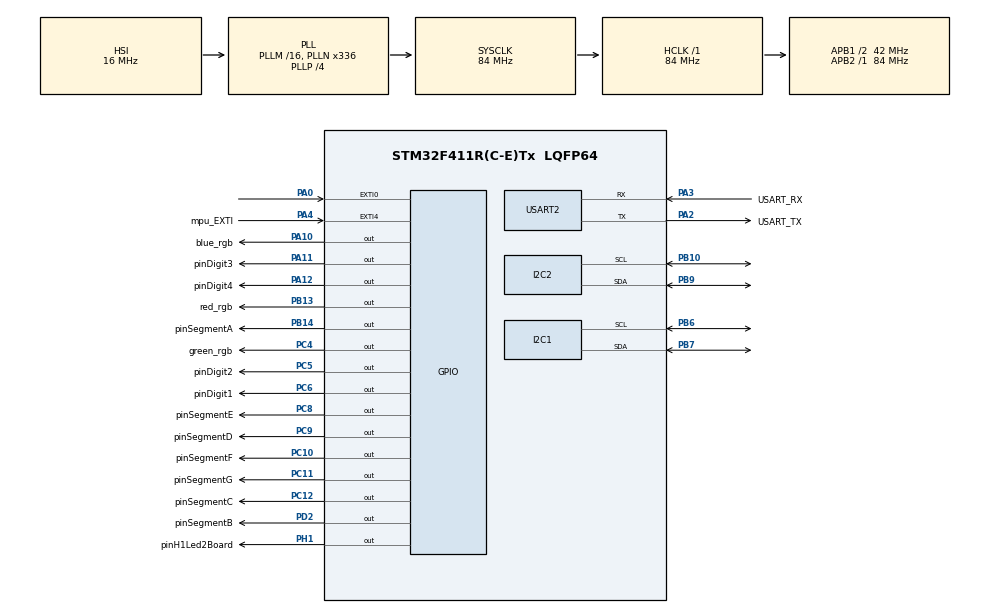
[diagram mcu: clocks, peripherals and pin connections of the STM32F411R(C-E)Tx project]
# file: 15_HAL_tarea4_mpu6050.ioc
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Dma.Request0=USART2_RX
Dma.USART2_RX.0.Direction=DMA_PERIPH_TO_MEMORY
Dma.USART2_RX.0.FIFOMode=DMA_FIFOMODE_DISABLE
Dma.USART2_RX.0.Instance=DMA1_Stream5
Dma.USART2_RX.0.MemDataAlignment=DMA_MDATAALIGN_BYTE
Dma.USART2_RX.0.MemInc=DMA_MINC_ENABLE
Dma.USART2_RX.0.Mode=DMA_NORMAL
Dma.USART2_RX.0.PeriphDataAlignment=DMA_PDATAALIGN_BYTE
Dma.USART2_RX.0.PeriphInc=DMA_PINC_DISABLE
Dma.USART2_RX.0.Priority=DMA_PRIORITY_LOW
Mcu.Family=STM32F4
Mcu.Name=STM32F411R(C-E)Tx
Mcu.Package=LQFP64
NVIC.DMA1_Stream5_IRQn=true\:0\:0\:false\:false\:true\:false\:true\:true
NVIC.EXTI4_IRQn=true\:0\:0\:false\:false\:true\:true\:true\:true
NVIC.PriorityGroup=NVIC_PRIORITYGROUP_0
NVIC.TIM2_IRQn=true\:0\:0\:false\:false\:true\:true\:true\:true
NVIC.TIM3_IRQn=true\:0\:0\:false\:false\:true\:true\:true\:true
NVIC.TIM4_IRQn=true\:0\:0\:false\:false\:true\:true\:true\:true
NVIC.USART2_IRQn=true\:0\:0\:false\:false\:true\:true\:true\:true
PA0-WKUP.Signal=GPXTI0
PA10.GPIO_Label=blue_rgb
PA10.Signal=GPIO_Output
PA11.GPIO_Label=pinDigit3
PA11.PinState=GPIO_PIN_SET
PA11.Signal=GPIO_Output
PA12.GPIO_Label=pinDigit4
PA12.PinState=GPIO_PIN_SET
PA12.Signal=GPIO_Output
PA13.GPIO_Label=TMS
PA13.Mode=Serial_Wire
PA13.Signal=SYS_JTMS-SWDIO
PA14.GPIO_Label=TCK
PA14.Mode=Serial_Wire
PA14.Signal=SYS_JTCK-SWCLK
PA2.GPIO_Label=USART_TX
PA2.Mode=Asynchronous
PA2.Signal=USART2_TX
PA3.GPIO_Label=USART_RX
PA3.Mode=Asynchronous
PA3.Signal=USART2_RX
PA4.GPIO_Label=mpu_EXTI
PA4.GPIO_ModeDefaultEXTI=GPIO_MODE_IT_RISING
PA4.GPIO_PuPd=GPIO_PULLDOWN
PA4.Signal=GPXTI4
PB10.Mode=I2C
PB10.Signal=I2C2_SCL
PB13.GPIO_Label=red_rgb
PB13.Signal=GPIO_Output
PB14.GPIO_Label=pinSegmentA
PB14.Signal=GPIO_Output
PB6.Mode=I2C
PB6.Signal=I2C1_SCL
PB7.Mode=I2C
PB7.Signal=I2C1_SDA
PB9.Mode=I2C
PB9.Signal=I2C2_SDA
PC10.GPIO_Label=pinSegmentF
PC10.Signal=GPIO_Output
PC11.GPIO_Label=pinSegmentG
PC11.Signal=GPIO_Output
PC12.GPIO_Label=pinSegmentC
PC12.Signal=GPIO_Output
PC14-OSC32_IN.Signal=RCC_OSC32_IN
PC15-OSC32_OUT.Signal=RCC_OSC32_OUT
PC4.GPIO_Label=green_rgb
PC4.Signal=GPIO_Output
PC5.GPIO_Label=pinDigit2
PC5.PinState=GPIO_PIN_SET
PC5.Signal=GPIO_Output
PC6.GPIO_Label=pinDigit1
PC6.PinState=GPIO_PIN_SET
PC6.Signal=GPIO_Output
PC8.GPIO_Label=pinSegmentE
PC8.Signal=GPIO_Output
PC9.GPIO_Label=pinSegmentD
PC9.Signal=GPIO_Output
PD2.GPIO_Label=pinSegmentB
PD2.Signal=GPIO_Output
PH0\ -\ OSC_IN.Signal=RCC_OSC_IN
PH1\ -\ OSC_OUT.GPIO_Label=pinH1Led2Board
PH1\ -\ OSC_OUT.Signal=GPIO_Output
ProjectManager.HeapSize=0x200
ProjectManager.StackSize=0x400
ProjectManager.TargetToolchain=STM32CubeIDE
RCC.48MHZClocksFreq_Value=84000000
RCC.AHBFreq_Value=84000000
RCC.APB1CLKDivider=RCC_HCLK_DIV2
RCC.APB1Freq_Value=42000000
RCC.APB1TimFreq_Value=84000000
RCC.APB2Freq_Value=84000000
RCC.APB2TimFreq_Value=84000000
RCC.CortexFreq_Value=84000000
RCC.FLatency-AdvancedSettings=FLASH_LATENCY_2
RCC.HCLKFreq_Value=84000000
RCC.HSE_VALUE=8000000
RCC.HSI_VALUE=16000000
RCC.LSE_VALUE=32768
RCC.PLLN=336
RCC.PLLP=RCC_PLLP_DIV4
RCC.SYSCLKFreq_VALUE=84000000
RCC.SYSCLKSource=RCC_SYSCLKSOURCE_PLLCLK
RCC.VCOOutputFreq_Value=336000000
TIM2.Period=1000-2
TIM2.Prescaler=42000-1
TIM3.AutoReloadPreload=TIM_AUTORELOAD_PRELOAD_ENABLE
TIM3.Period=1200
TIM3.Prescaler=25
TIM3.TIM_MasterOutputTrigger=TIM_TRGO_UPDATE
TIM4.Period=2-1
TIM4.Prescaler=16000-1
USART2.VirtualMode=VM_ASYNC
VP_TIM2_VS_ClockSourceINT.Mode=Internal
VP_TIM3_VS_ClockSourceINT.Mode=Internal
VP_TIM4_VS_ClockSourceINT.Mode=Internal
board=NUCLEO-F411RE

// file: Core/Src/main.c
/* USER CODE BEGIN Header */
/**
  ******************************************************************************
  * @file           : main.c
  * @brief          : Main program body
  ******************************************************************************
  * @attention
  *
  * Copyright (c) 2025 STMicroelectronics.
  * All rights reserved.
  *
  * This software is licensed under terms that can be found in the LICENSE file
  * in the root directory of this software component.
  * If no LICENSE file comes with this software, it is provided AS-IS.
  *
  ******************************************************************************
  */
/* USER CODE END Header */
#include "main.h"

/* USER CODE BEGIN Includes */
#include "maquina_estados_hal.h"
#include "main.h"
#include "arm_math.h"
#include "arm_const_structs.h"
#include <stdio.h>
#include <string.h>
#include <stdbool.h>
/* USER CODE END Includes */

/* USER CODE BEGIN PTD */
// Estructura que representa el dispositivo de pantalla LCD
typedef struct {
    I2C_HandleTypeDef* i2c_handle;
    uint8_t             i2c_addr;
    uint8_t             backlight;
} DisplayDevice_t;
// Estructura que representa el sensor de vibración
typedef struct {
    I2C_HandleTypeDef* i2c_handle;
    uint8_t             i2c_addr;
    int16_t             accel_x, accel_y, accel_z;
} VibrationSensor_t;
/* USER CODE END PTD */

/* USER CODE BEGIN PD */
#define FFT_SAMPLES             1024
#define SAMPLING_FREQUENCY_HZ   1000.0f // Debe coincidir con la configuración del sensor

// --- Direcciones I2C ---
#define MPU6050_I2C_ADDR        (0x68 << 1)
#define LCD_I2C_ADDR            (0x23 << 1) // Cambiar a la dirección de tu LCD

//=============================================================================
#pragma region /// Driver para Pantalla LCD (integrado) ///
//=============================================================================
/* USER CODE END PD */

I2C_HandleTypeDef hi2c1;
I2C_HandleTypeDef hi2c2;

TIM_HandleTypeDef htim2;
TIM_HandleTypeDef htim3;
TIM_HandleTypeDef htim4;

UART_HandleTypeDef huart2;
DMA_HandleTypeDef hdma_usart2_rx;

/* USER CODE BEGIN PV */

fsm_states_t stateMachine = {0};

// --- Instancias de nuestros dispositivos ---
DisplayDevice_t main_display;
VibrationSensor_t main_sensor;

// --- Buffers y variables para FFT ---
arm_rfft_fast_instance_f32 fft_instance;
float32_t fft_input_buffer[FFT_SAMPLES];
float32_t fft_output_buffer[FFT_SAMPLES];

int16_t data_capture_ping[FFT_SAMPLES];
int16_t data_capture_pong[FFT_SAMPLES];

volatile int16_t* current_capture_buffer = data_capture_ping;
volatile int16_t* processing_buffer = NULL;
volatile uint16_t capture_index = 0;
volatile bool fft_data_is_ready = false;

// --- Variables de la aplicación ---
float dominant_frequency = 0.0f;
volatile bool new_sensor_data_available = false;
/* USER CODE END PV */

void SystemClock_Config(void);
static void MX_GPIO_Init(void);
static void MX_DMA_Init(void);
static void MX_USART2_UART_Init(void);
static void MX_TIM2_Init(void);
static void MX_TIM3_Init(void);
static void MX_TIM4_Init(void);
static void MX_I2C1_Init(void);
static void MX_I2C2_Init(void);

/* USER CODE BEGIN PFP */
void InitProgram(void);
e_PosibleStates state_machine_action(uint8_t event);
// --- Prototipos para el driver del LCD ---
void display_init(DisplayDevice_t* display, I2C_HandleTypeDef* i2c, uint8_t addr);
void display_clear(DisplayDevice_t* display);
void display_set_cursor(DisplayDevice_t* display, uint8_t row, uint8_t col);
void display_write_string(DisplayDevice_t* display, const char* str);

// --- Prototipos para el driver del Sensor ---
void sensor_init(VibrationSensor_t* sensor, I2C_HandleTypeDef* i2c, uint8_t addr);
void sensor_acquire_data(VibrationSensor_t* sensor);

// --- Prototipos para las funciones de la aplicación ---
float analyze_vibration_frequency(volatile int16_t* raw_data);
void refresh_display_data(void);
/* USER CODE END PFP */

/* USER CODE BEGIN 0 */
// Funciones de bajo nivel para el LCD
static void display_send_nibble(DisplayDevice_t* display, uint8_t nibble, uint8_t is_data) {
    uint8_t i2c_data = (nibble << 4) | (is_data ? 0x01 : 0x00) | display->backlight;
    HAL_I2C_Master_Transmit(display->i2c_handle, display->i2c_addr, &i2c_data, 1, 10);
    i2c_data |= 0x04; // EN = 1
    HAL_I2C_Master_Transmit(display->i2c_handle, display->i2c_addr, &i2c_data, 1, 10);
    i2c_data &= ~0x04; // EN = 0
    HAL_I2C_Master_Transmit(display->i2c_handle, display->i2c_addr, &i2c_data, 1, 10);
}

static void display_send_byte(DisplayDevice_t* display, uint8_t byte, uint8_t is_data) {
    display_send_nibble(display, byte >> 4, is_data);
    display_send_nibble(display, byte & 0x0F, is_data);
}
/* USER CODE END 0 */

int main(void)
{

  /* MCU Configuration--------------------------------------------------------*/

  /* Reset of all peripherals, Initializes the Flash interface and the Systick. */
  HAL_Init();

  /* Configure the system clock */
  SystemClock_Config();

  /* Initialize all configured peripherals */
  MX_GPIO_Init();
  MX_DMA_Init();
  MX_USART2_UART_Init();
  MX_TIM2_Init();
  MX_TIM3_Init();
  MX_TIM4_Init();
  MX_I2C1_Init();
  MX_I2C2_Init();
  /* USER CODE BEGIN 2 */
  InitProgram();
  HAL_TIM_Base_Start_IT(&htim2);
  // CORRECCIÓN: Inicializar el sensor en I2C1
  sensor_init(&main_sensor, &hi2c1, MPU6050_I2C_ADDR);

  // CORRECCIÓN: Inicializar la pantalla en I2C2
  display_init(&main_display, &hi2c2, LCD_I2C_ADDR);

      // Inicializar instancia de la librería FFT
      arm_rfft_fast_init_f32(&fft_instance, FFT_SAMPLES);

      // Mensaje de bienvenida
      display_set_cursor(&main_display, 0, 2);
      display_write_string(&main_display, "Analizador de");
      display_set_cursor(&main_display, 1, 3);
      display_write_string(&main_display, "Vibraciones");
      HAL_Delay(2000);
      display_clear(&main_display);

      uint32_t last_screen_update = 0;
  /* USER CODE END 2 */

  /* Infinite loop */
  /* USER CODE BEGIN WHILE */
  while (1)
  {
	  state_machine_action(0);
      // --- Tarea 3: Actualizar la pantalla periódicamente sin bloquear ---
      if (HAL_GetTick() - last_screen_update > 150) { // Actualizar cada 150 ms
          last_screen_update = HAL_GetTick();
          refresh_display_data();
      }
    /* USER CODE END WHILE */

  }
}

void SystemClock_Config(void)
{
  RCC_OscInitTypeDef RCC_OscInitStruct = {0};
  RCC_ClkInitTypeDef RCC_ClkInitStruct = {0};

  /** Configure the main internal regulator output voltage
  */
  __HAL_RCC_PWR_CLK_ENABLE();
  __HAL_PWR_VOLTAGESCALING_CONFIG(PWR_REGULATOR_VOLTAGE_SCALE1);

  /** Initializes the RCC Oscillators according to the specified parameters
  * in the RCC_OscInitTypeDef structure.
  */
  RCC_OscInitStruct.OscillatorType = RCC_OSCILLATORTYPE_HSI;
  RCC_OscInitStruct.HSIState = RCC_HSI_ON;
  RCC_OscInitStruct.HSICalibrationValue = RCC_HSICALIBRATION_DEFAULT;
  RCC_OscInitStruct.PLL.PLLState = RCC_PLL_ON;
  RCC_OscInitStruct.PLL.PLLSource = RCC_PLLSOURCE_HSI;
  RCC_OscInitStruct.PLL.PLLM = 16;
  RCC_OscInitStruct.PLL.PLLN = 336;
  RCC_OscInitStruct.PLL.PLLP = RCC_PLLP_DIV4;
  RCC_OscInitStruct.PLL.PLLQ = 4;
  if (HAL_RCC_OscConfig(&RCC_OscInitStruct) != HAL_OK)
  {
    Error_Handler();
  }

  /** Initializes the CPU, AHB and APB buses clocks
  */
  RCC_ClkInitStruct.ClockType = RCC_CLOCKTYPE_HCLK|RCC_CLOCKTYPE_SYSCLK
                              |RCC_CLOCKTYPE_PCLK1|RCC_CLOCKTYPE_PCLK2;
  RCC_ClkInitStruct.SYSCLKSource = RCC_SYSCLKSOURCE_PLLCLK;
  RCC_ClkInitStruct.AHBCLKDivider = RCC_SYSCLK_DIV1;
  RCC_ClkInitStruct.APB1CLKDivider = RCC_HCLK_DIV2;
  RCC_ClkInitStruct.APB2CLKDivider = RCC_HCLK_DIV1;

  if (HAL_RCC_ClockConfig(&RCC_ClkInitStruct, FLASH_LATENCY_2) != HAL_OK)
  {
    Error_Handler();
  }
}

static void MX_I2C1_Init(void)
{

  hi2c1.Instance = I2C1;
  hi2c1.Init.ClockSpeed = 100000;
  hi2c1.Init.DutyCycle = I2C_DUTYCYCLE_2;
  hi2c1.Init.OwnAddress1 = 0;
  hi2c1.Init.AddressingMode = I2C_ADDRESSINGMODE_7BIT;
  hi2c1.Init.DualAddressMode = I2C_DUALADDRESS_DISABLE;
  hi2c1.Init.OwnAddress2 = 0;
  hi2c1.Init.GeneralCallMode = I2C_GENERALCALL_DISABLE;
  hi2c1.Init.NoStretchMode = I2C_NOSTRETCH_DISABLE;
  if (HAL_I2C_Init(&hi2c1) != HAL_OK)
  {
    Error_Handler();
  }

}

static void MX_I2C2_Init(void)
{

  hi2c2.Instance = I2C2;
  hi2c2.Init.ClockSpeed = 100000;
  hi2c2.Init.DutyCycle = I2C_DUTYCYCLE_2;
  hi2c2.Init.OwnAddress1 = 0;
  hi2c2.Init.AddressingMode = I2C_ADDRESSINGMODE_7BIT;
  hi2c2.Init.DualAddressMode = I2C_DUALADDRESS_DISABLE;
  hi2c2.Init.OwnAddress2 = 0;
  hi2c2.Init.GeneralCallMode = I2C_GENERALCALL_DISABLE;
  hi2c2.Init.NoStretchMode = I2C_NOSTRETCH_DISABLE;
  if (HAL_I2C_Init(&hi2c2) != HAL_OK)
  {
    Error_Handler();
  }

}

static void MX_TIM2_Init(void)
{

  TIM_ClockConfigTypeDef sClockSourceConfig = {0};
  TIM_MasterConfigTypeDef sMasterConfig = {0};

  htim2.Instance = TIM2;
  htim2.Init.Prescaler = 42000-1;
  htim2.Init.CounterMode = TIM_COUNTERMODE_UP;
  htim2.Init.Period = 1000-2;
  htim2.Init.ClockDivision = TIM_CLOCKDIVISION_DIV1;
  htim2.Init.AutoReloadPreload = TIM_AUTORELOAD_PRELOAD_DISABLE;
  if (HAL_TIM_Base_Init(&htim2) != HAL_OK)
  {
    Error_Handler();
  }
  sClockSourceConfig.ClockSource = TIM_CLOCKSOURCE_INTERNAL;
  if (HAL_TIM_ConfigClockSource(&htim2, &sClockSourceConfig) != HAL_OK)
  {
    Error_Handler();
  }
  sMasterConfig.MasterOutputTrigger = TIM_TRGO_RESET;
  sMasterConfig.MasterSlaveMode = TIM_MASTERSLAVEMODE_DISABLE;
  if (HAL_TIMEx_MasterConfigSynchronization(&htim2, &sMasterConfig) != HAL_OK)
  {
    Error_Handler();
  }

}

static void MX_TIM3_Init(void)
{

  TIM_ClockConfigTypeDef sClockSourceConfig = {0};
  TIM_MasterConfigTypeDef sMasterConfig = {0};

  htim3.Instance = TIM3;
  htim3.Init.Prescaler = 25;
  htim3.Init.CounterMode = TIM_COUNTERMODE_UP;
  htim3.Init.Period = 1200;
  htim3.Init.ClockDivision = TIM_CLOCKDIVISION_DIV1;
  htim3.Init.AutoReloadPreload = TIM_AUTORELOAD_PRELOAD_ENABLE;
  if (HAL_TIM_Base_Init(&htim3) != HAL_OK)
  {
    Error_Handler();
  }
  sClockSourceConfig.ClockSource = TIM_CLOCKSOURCE_INTERNAL;
  if (HAL_TIM_ConfigClockSource(&htim3, &sClockSourceConfig) != HAL_OK)
  {
    Error_Handler();
  }
  sMasterConfig.MasterOutputTrigger = TIM_TRGO_UPDATE;
  sMasterConfig.MasterSlaveMode = TIM_MASTERSLAVEMODE_DISABLE;
  if (HAL_TIMEx_MasterConfigSynchronization(&htim3, &sMasterConfig) != HAL_OK)
  {
    Error_Handler();
  }

}

static void MX_TIM4_Init(void)
{

  TIM_ClockConfigTypeDef sClockSourceConfig = {0};
  TIM_MasterConfigTypeDef sMasterConfig = {0};

  htim4.Instance = TIM4;
  htim4.Init.Prescaler = 16000-1;
  htim4.Init.CounterMode = TIM_COUNTERMODE_UP;
  htim4.Init.Period = 2-1;
  htim4.Init.ClockDivision = TIM_CLOCKDIVISION_DIV1;
  htim4.Init.AutoReloadPreload = TIM_AUTORELOAD_PRELOAD_DISABLE;
  if (HAL_TIM_Base_Init(&htim4) != HAL_OK)
  {
    Error_Handler();
  }
  sClockSourceConfig.ClockSource = TIM_CLOCKSOURCE_INTERNAL;
  if (HAL_TIM_ConfigClockSource(&htim4, &sClockSourceConfig) != HAL_OK)
  {
    Error_Handler();
  }
  sMasterConfig.MasterOutputTrigger = TIM_TRGO_RESET;
  sMasterConfig.MasterSlaveMode = TIM_MASTERSLAVEMODE_DISABLE;
  if (HAL_TIMEx_MasterConfigSynchronization(&htim4, &sMasterConfig) != HAL_OK)
  {
    Error_Handler();
  }

}

static void MX_USART2_UART_Init(void)
{

  huart2.Instance = USART2;
  huart2.Init.BaudRate = 115200;
  huart2.Init.WordLength = UART_WORDLENGTH_8B;
  huart2.Init.StopBits = UART_STOPBITS_1;
  huart2.Init.Parity = UART_PARITY_NONE;
  huart2.Init.Mode = UART_MODE_TX_RX;
  huart2.Init.HwFlowCtl = UART_HWCONTROL_NONE;
  huart2.Init.OverSampling = UART_OVERSAMPLING_16;
  if (HAL_UART_Init(&huart2) != HAL_OK)
  {
    Error_Handler();
  }

}

static void MX_DMA_Init(void)
{

  /* DMA controller clock enable */
  __HAL_RCC_DMA1_CLK_ENABLE();

  /* DMA interrupt init */
  /* DMA1_Stream5_IRQn interrupt configuration */
  HAL_NVIC_SetPriority(DMA1_Stream5_IRQn, 0, 0);
  HAL_NVIC_EnableIRQ(DMA1_Stream5_IRQn);

}

static void MX_GPIO_Init(void)
{
  GPIO_InitTypeDef GPIO_InitStruct = {0};

  /* GPIO Ports Clock Enable */
  __HAL_RCC_GPIOC_CLK_ENABLE();
  __HAL_RCC_GPIOH_CLK_ENABLE();
  __HAL_RCC_GPIOA_CLK_ENABLE();
  __HAL_RCC_GPIOB_CLK_ENABLE();
  __HAL_RCC_GPIOD_CLK_ENABLE();

  /*Configure GPIO pin Output Level */
  HAL_GPIO_WritePin(pinH1Led2Board_GPIO_Port, pinH1Led2Board_Pin, GPIO_PIN_RESET);

  /*Configure GPIO pin Output Level */
  HAL_GPIO_WritePin(GPIOC, green_rgb_Pin|pinSegmentE_Pin|pinSegmentD_Pin|pinSegmentF_Pin
                          |pinSegmentG_Pin|pinSegmentC_Pin, GPIO_PIN_RESET);

  /*Configure GPIO pin Output Level */
  HAL_GPIO_WritePin(GPIOC, pinDigit2_Pin|pinDigit1_Pin, GPIO_PIN_SET);

  /*Configure GPIO pin Output Level */
  HAL_GPIO_WritePin(GPIOB, red_rgb_Pin|pinSegmentA_Pin, GPIO_PIN_RESET);

  /*Configure GPIO pin Output Level */
  HAL_GPIO_WritePin(blue_rgb_GPIO_Port, blue_rgb_Pin, GPIO_PIN_RESET);

  /*Configure GPIO pin Output Level */
  HAL_GPIO_WritePin(GPIOA, pinDigit3_Pin|pinDigit4_Pin, GPIO_PIN_SET);

  /*Configure GPIO pin Output Level */
  HAL_GPIO_WritePin(pinSegmentB_GPIO_Port, pinSegmentB_Pin, GPIO_PIN_RESET);

  /*Configure GPIO pin : pinH1Led2Board_Pin */
  GPIO_InitStruct.Pin = pinH1Led2Board_Pin;
  GPIO_InitStruct.Mode = GPIO_MODE_OUTPUT_PP;
  GPIO_InitStruct.Pull = GPIO_NOPULL;
  GPIO_InitStruct.Speed = GPIO_SPEED_FREQ_LOW;
  HAL_GPIO_Init(pinH1Led2Board_GPIO_Port, &GPIO_InitStruct);

  /*Configure GPIO pin : PA0 */
  GPIO_InitStruct.Pin = GPIO_PIN_0;
  GPIO_InitStruct.Mode = GPIO_MODE_IT_RISING;
  GPIO_InitStruct.Pull = GPIO_NOPULL;
  HAL_GPIO_Init(GPIOA, &GPIO_InitStruct);

  /*Configure GPIO pin : mpu_EXTI_Pin */
  GPIO_InitStruct.Pin = mpu_EXTI_Pin;
  GPIO_InitStruct.Mode = GPIO_MODE_IT_RISING;
  GPIO_InitStruct.Pull = GPIO_PULLDOWN;
  HAL_GPIO_Init(mpu_EXTI_GPIO_Port, &GPIO_InitStruct);

  /*Configure GPIO pins : green_rgb_Pin pinDigit2_Pin pinDigit1_Pin pinSegmentE_Pin
                           pinSegmentD_Pin pinSegmentF_Pin pinSegmentG_Pin pinSegmentC_Pin */
  GPIO_InitStruct.Pin = green_rgb_Pin|pinDigit2_Pin|pinDigit1_Pin|pinSegmentE_Pin
                          |pinSegmentD_Pin|pinSegmentF_Pin|pinSegmentG_Pin|pinSegmentC_Pin;
  GPIO_InitStruct.Mode = GPIO_MODE_OUTPUT_PP;
  GPIO_InitStruct.Pull = GPIO_NOPULL;
  GPIO_InitStruct.Speed = GPIO_SPEED_FREQ_LOW;
  HAL_GPIO_Init(GPIOC, &GPIO_InitStruct);

  /*Configure GPIO pins : red_rgb_Pin pinSegmentA_Pin */
  GPIO_InitStruct.Pin = red_rgb_Pin|pinSegmentA_Pin;
  GPIO_InitStruct.Mode = GPIO_MODE_OUTPUT_PP;
  GPIO_InitStruct.Pull = GPIO_NOPULL;
  GPIO_InitStruct.Speed = GPIO_SPEED_FREQ_LOW;
  HAL_GPIO_Init(GPIOB, &GPIO_InitStruct);

  /*Configure GPIO pins : blue_rgb_Pin pinDigit3_Pin pinDigit4_Pin */
  GPIO_InitStruct.Pin = blue_rgb_Pin|pinDigit3_Pin|pinDigit4_Pin;
  GPIO_InitStruct.Mode = GPIO_MODE_OUTPUT_PP;
  GPIO_InitStruct.Pull = GPIO_NOPULL;
  GPIO_InitStruct.Speed = GPIO_SPEED_FREQ_LOW;
  HAL_GPIO_Init(GPIOA, &GPIO_InitStruct);

  /*Configure GPIO pin : pinSegmentB_Pin */
  GPIO_InitStruct.Pin = pinSegmentB_Pin;
  GPIO_InitStruct.Mode = GPIO_MODE_OUTPUT_PP;
  GPIO_InitStruct.Pull = GPIO_NOPULL;
  GPIO_InitStruct.Speed = GPIO_SPEED_FREQ_LOW;
  HAL_GPIO_Init(pinSegmentB_GPIO_Port, &GPIO_InitStruct);

  /* EXTI interrupt init*/
  HAL_NVIC_SetPriority(EXTI4_IRQn, 0, 0);
  HAL_NVIC_EnableIRQ(EXTI4_IRQn);

}

/* USER CODE BEGIN 4 */
void InitProgram(void)
{
	stateMachine.state=IDLE;
}
// maquina de estados
e_PosibleStates state_machine_action(uint8_t event)
{
	switch (stateMachine.state){
	case IDLE:
	{
  // --- Tarea 1: Capturar datos del sensor (manejado por interrupción) ---
		  if (new_sensor_data_available) {
			stateMachine.state=EXTI_MPU6050;
		  }

		  // --- Tarea 2: Procesar FFT cuando un buffer esté lleno ---
		  if (fft_data_is_ready) {
				stateMachine.state=FFT_READY;
		  }

	}
	return stateMachine.state;

	case EXTI_MPU6050:
	{
		stateMachine.state=IDLE;
        new_sensor_data_available = false; // Bajar la bandera

        sensor_acquire_data(&main_sensor);

        if (capture_index < FFT_SAMPLES) {
            current_capture_buffer[capture_index++] = main_sensor.accel_z;
        }

        if (capture_index >= FFT_SAMPLES) {
            processing_buffer = current_capture_buffer; // Marcar buffer como listo
            fft_data_is_ready = true;
            capture_index = 0;

            // Intercambiar al otro buffer (Ping-Pong)
            current_capture_buffer = (current_capture_buffer == data_capture_ping) ? data_capture_pong : data_capture_ping;
        }

	}
	return stateMachine.state;

	case FFT_READY:
	{
		stateMachine.state=IDLE;
        fft_data_is_ready = false; // Bajar la bandera
        dominant_frequency = analyze_vibration_frequency(processing_buffer);
	}
	return stateMachine.state;
	default:
		{
		stateMachine.state = IDLE;
		return stateMachine.state;
		}

	}
}

// Funciones públicas para el LCD
void display_set_cursor(DisplayDevice_t* display, uint8_t row, uint8_t col) {
    const uint8_t row_offsets[] = {0x00, 0x40, 0x14, 0x54};
    display_send_byte(display, 0x80 | (row_offsets[row] + col), 0);
}

void display_write_string(DisplayDevice_t* display, const char* str) {
    while (*str) {
        display_send_byte(display, *str++, 1);
    }
}

void display_clear(DisplayDevice_t* display) {
    display_send_byte(display, 0x01, 0);
    HAL_Delay(2);
}

void display_init(DisplayDevice_t* display, I2C_HandleTypeDef* i2c, uint8_t addr) {
    display->i2c_handle = i2c;
    display->i2c_addr = addr;
    display->backlight = 0x08; // Backlight ON

    HAL_Delay(50);
    display_send_nibble(display, 0x03, 0); HAL_Delay(5);
    display_send_nibble(display, 0x03, 0); HAL_Delay(1);
    display_send_nibble(display, 0x03, 0); HAL_Delay(1);
    display_send_nibble(display, 0x02, 0); // Modo 4 bits

    display_send_byte(display, 0x28, 0); // 2 líneas, 5x8
    display_send_byte(display, 0x0C, 0); // Display ON, Cursor OFF
    display_send_byte(display, 0x06, 0); // Incremento de cursor
    display_clear(display);
}

#pragma endregion

//=============================================================================
#pragma region /// Driver para Sensor MPU6050 (integrado) ///
//=============================================================================

// Estructura que representa el sensor de vibración

// Funciones de bajo nivel
static void sensor_write_register(VibrationSensor_t* sensor, uint8_t reg, uint8_t val) {
    uint8_t data[2] = {reg, val};
    HAL_I2C_Master_Transmit(sensor->i2c_handle, sensor->i2c_addr, data, 2, 100);
}

static void sensor_read_registers(VibrationSensor_t* sensor, uint8_t reg, uint8_t* buffer, uint16_t len) {
    HAL_I2C_Master_Transmit(sensor->i2c_handle, sensor->i2c_addr, &reg, 1, 100);
    HAL_I2C_Master_Receive(sensor->i2c_handle, sensor->i2c_addr, buffer, len, 100);
}

// Funciones públicas para el sensor
void sensor_acquire_data(VibrationSensor_t* sensor) {
    uint8_t buffer[6];
    sensor_read_registers(sensor, 0x3B, buffer, 6);
    sensor->accel_x = (int16_t)(buffer[0] << 8 | buffer[1]);
    sensor->accel_y = (int16_t)(buffer[2] << 8 | buffer[3]);
    sensor->accel_z = (int16_t)(buffer[4] << 8 | buffer[5]);
}

void sensor_init(VibrationSensor_t* sensor, I2C_HandleTypeDef* i2c, uint8_t addr) {
    sensor->i2c_handle = i2c;
    sensor->i2c_addr = addr;

    HAL_Delay(100);
    sensor_write_register(sensor, 0x6B, 0x00); // Salir del modo sleep
    HAL_Delay(100);

    // Configurar Sample Rate = Gyroscope Output Rate / (1 + SMPLRT_DIV)
    // Con DLPF desactivado, Gyro Rate = 8kHz. Para 1kHz: 8000 / (1 + 7) = 1000
    sensor_write_register(sensor, 0x1A, 0x00); // DLPF_CFG = 0 (Gyro Rate 8kHz)
    sensor_write_register(sensor, 0x19, 7);    // SMPLRT_DIV = 7 -> 1kHz sample rate
    sensor_write_register(sensor, 0x1C, 0x00); // Rango Acelerómetro: ±2g
    sensor_write_register(sensor, 0x38, 0x01); // Habilitar interrupción 'Data Ready'
}

#pragma endregion

float analyze_vibration_frequency(volatile int16_t* raw_data) {
    // Paso 1: Copiar datos y remover componente DC
    float32_t dc_component = 0.0f;
    for (int i = 0; i < FFT_SAMPLES; i++) {
        dc_component += (float32_t)raw_data[i];
    }
    dc_component /= FFT_SAMPLES;

    for (int i = 0; i < FFT_SAMPLES; i++) {
        // Aplicar ventana de Hann mientras se remueve el DC
        float32_t hann_window = 0.5f * (1.0f - arm_cos_f32(2.0f * PI * i / (FFT_SAMPLES - 1)));
        fft_input_buffer[i] = ((float32_t)raw_data[i] - dc_component) * hann_window;
    }

    // Paso 2: Ejecutar FFT
    arm_rfft_fast_f32(&fft_instance, fft_input_buffer, fft_output_buffer, 0);

    // Paso 3: Calcular magnitud del espectro
    arm_cmplx_mag_f32(fft_output_buffer, fft_input_buffer, FFT_SAMPLES / 2);

    // Paso 4: Encontrar el pico de magnitud (ignorando el bin 0 de DC)
    float32_t max_magnitude;
    uint32_t max_index;
    arm_max_f32(&fft_input_buffer[1], (FFT_SAMPLES / 2) - 1, &max_magnitude, &max_index);
    max_index += 1; // Ajustar índice porque la búsqueda comenzó en 1

    // Paso 5: Calcular frecuencia con interpolación para mayor precisión
    float calculated_freq;
    if (max_index > 0 && max_index < (FFT_SAMPLES / 2) - 1) {
        float y0 = fft_input_buffer[max_index - 1];
        float y1 = fft_input_buffer[max_index];
        float y2 = fft_input_buffer[max_index + 1];

        // Evitar división por cero si los 3 puntos son iguales
        if (fabsf(y0 - 2.0f * y1 + y2) < 1e-6) {
             calculated_freq = (float)max_index * SAMPLING_FREQUENCY_HZ / FFT_SAMPLES;
        } else {
            float delta = 0.5f * (y0 - y2) / (y0 - 2.0f * y1 + y2);
            calculated_freq = (max_index + delta) * SAMPLING_FREQUENCY_HZ / FFT_SAMPLES;
        }
    } else {
        calculated_freq = (float)max_index * SAMPLING_FREQUENCY_HZ / FFT_SAMPLES;
    }

    return calculated_freq;
}

/**
  * @brief  Formatea y muestra todos los datos en la pantalla LCD.
  */
void refresh_display_data(void) {
    char line_buffer[21]; // Buffer para una línea completa (20 chars + null)
    char text_buffer[21];

    // Convertir valores RAW a m/s^2
    const float G_TO_MS2 = 9.80665f;
    const float SENSITIVITY = 16384.0f;
    float accel_x_ms2 = main_sensor.accel_x / SENSITIVITY * G_TO_MS2;
    float accel_y_ms2 = main_sensor.accel_y / SENSITIVITY * G_TO_MS2;
    float accel_z_ms2 = main_sensor.accel_z / SENSITIVITY * G_TO_MS2;

    // --- Fila 0: Eje X ---
    snprintf(text_buffer, sizeof(text_buffer), "X:%+6.2fm/s^2", accel_x_ms2);
    snprintf(line_buffer, sizeof(line_buffer), "%-20s", text_buffer); // Rellenar con espacios
    display_set_cursor(&main_display, 0, 0);
    display_write_string(&main_display, line_buffer);

    // --- Fila 1: Eje Y ---
    snprintf(text_buffer, sizeof(text_buffer), "Y:%+6.2fm/s^2", accel_y_ms2);
    snprintf(line_buffer, sizeof(line_buffer), "%-20s", text_buffer);
    display_set_cursor(&main_display, 1, 0);
    display_write_string(&main_display, line_buffer);

    // --- Fila 2: Eje Z ---
    snprintf(text_buffer, sizeof(text_buffer), "Z:%+6.2fm/s^2", accel_z_ms2);
    snprintf(line_buffer, sizeof(line_buffer), "%-20s", text_buffer);
    display_set_cursor(&main_display, 2, 0);
    display_write_string(&main_display, line_buffer);

    // --- Fila 3: Frecuencia Dominante ---
    snprintf(text_buffer, sizeof(text_buffer), "Freq: %.1f Hz", dominant_frequency);
    snprintf(line_buffer, sizeof(line_buffer), "%-20s", text_buffer);
    display_set_cursor(&main_display, 3, 0);
    display_write_string(&main_display, line_buffer);
}

void HAL_TIM_PeriodElapsedCallback(TIM_HandleTypeDef *htim)
{
	if(htim->Instance == TIM2)
	{
		HAL_GPIO_TogglePin(pinH1Led2Board_GPIO_Port, pinH1Led2Board_Pin);
	}
}
void HAL_GPIO_EXTI_Callback(uint16_t GPIO_Pin)
{
    // Asegurarse de que la interrupción vino del pin del MPU6050 (PA4)
    if (GPIO_Pin == mpu_EXTI_Pin) { // MPU_INT_Pin debe estar definido como GPIO_PIN_4
        new_sensor_data_available = true; // Activar el estado/bandera para el main loop
    }
}

/* USER CODE END 4 */

void Error_Handler(void)
{
  __disable_irq();
  while (1)
  {
  }
}
